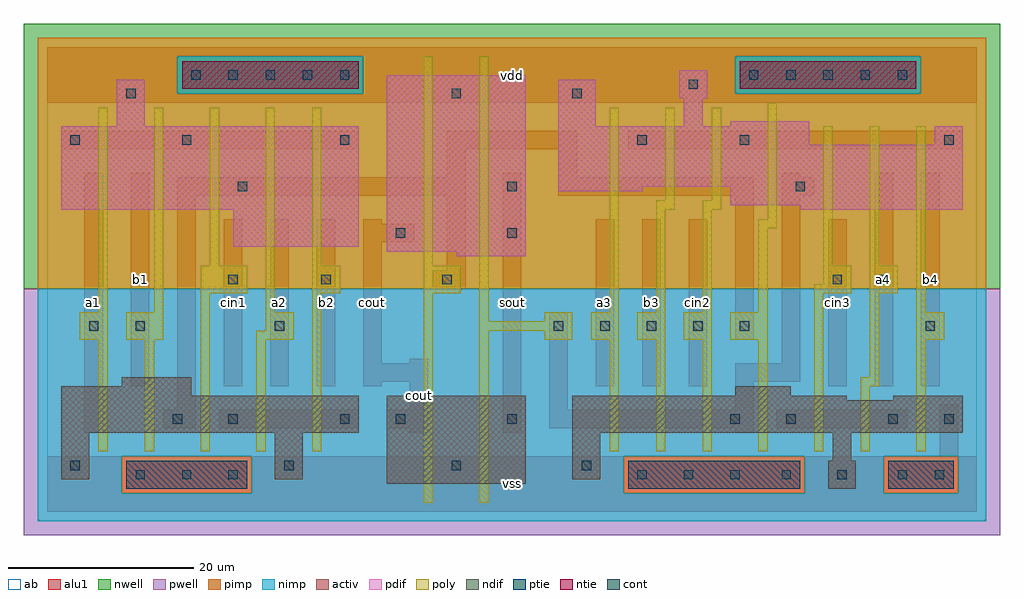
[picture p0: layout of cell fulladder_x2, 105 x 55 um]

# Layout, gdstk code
import gdstk
lib = gdstk.Library(unit=1e-6, precision=1e-09)
def R(c, l, rs):  # rectangles x0, y0, x1, y1
    for r in rs: c.add(gdstk.rectangle(r[:2], r[2:], *l))
def A(c, l, x, y, w, h, nx, ny, dx, dy):  # array of equal rectangles
    R(c, l, [(x+i*dx, y+j*dy, x+i*dx+w, y+j*dy+h) for i in range(nx) for j in range(ny)])
ndif = (3, 0)
pdif = (4, 0)
ntie = (5, 0)
ptie = (6, 0)
cont = (25, 0)
pwell = (41, 0)
nwell = (42, 0)
activ = (43, 0)
pimp = (44, 0)
nimp = (45, 0)
poly = (46, 0)
alu1 = (49, 0)
ab = (63, 0)

fulladder_x2 = lib.new_cell('fulladder_x2')
R(fulladder_x2, ndif, [(84,2.5,87,5.5), (36.5,3,51.5,12.5), (1.5,3.5,4.5,8.5), (24.5,3.5,27.5,8.5), (56.5,3.5,59.5,8.5), (84.5,5.5,86.5,8.5), (1.5,8.5,33.5,12.5), (56.5,8.5,98.5,12), (56.5,12,86,12.5), (91,12,98.5,12.5), (1.5,12.5,15.5,13.5), (74,12.5,80,13.5), (8,13.5,15.5,14.5)])
R(fulladder_x2, pdif, [(44,27.5,51.5,28), (36.5,28,51.5,47), (20,28.5,33.5,32.5), (1.5,32.5,33.5,41.5), (81,32.5,98.5,33), (73.5,33,98.5,35), (55,34.5,64,35), (55,35,98.5,39.5), (55,39.5,82,41.5), (95.5,39.5,98.5,41.5), (7.5,41.5,10.5,46.5), (55,41.5,59,46.5), (68.5,41.5,70.5,44.5), (73.5,41.5,82,42), (68,44.5,71,47.5)])
R(fulladder_x2, ntie, [(14.5,45.5,33.5,48.5), (74.5,45.5,93.5,48.5)])
R(fulladder_x2, ptie, [(8.5,2.5,21.5,5.5), (62.5,2.5,81,5.5), (90.5,2.5,97.5,5.5)])
A(fulladder_x2, cont, 9.5, 3.5, 1, 1, 3, 1, 5, 0)
A(fulladder_x2, cont, 63.5, 3.5, 1, 1, 3, 1, 5, 0)
A(fulladder_x2, cont, 54.5, 19.5, 1, 1, 5, 1, 5, 0)
A(fulladder_x2, cont, 15.5, 46.5, 1, 1, 5, 1, 4, 0)
A(fulladder_x2, cont, 75.5, 46.5, 1, 1, 5, 1, 4, 0)
R(fulladder_x2, cont, [(79,3.5,80,4.5), (85,3.5,86,4.5), (91.5,3.5,92.5,4.5), (95.5,3.5,96.5,4.5), (2.5,4.5,3.5,5.5), (25.5,4.5,26.5,5.5), (43.5,4.5,44.5,5.5), (57.5,4.5,58.5,5.5), (13.5,9.5,14.5,10.5), (19.5,9.5,20.5,10.5), (31.5,9.5,32.5,10.5), (37.5,9.5,38.5,10.5), (49.5,9.5,50.5,10.5), (73.5,9.5,74.5,10.5), (79.5,9.5,80.5,10.5), (90.5,9.5,91.5,10.5), (96.5,9.5,97.5,10.5), (4.5,19.5,5.5,20.5), (9.5,19.5,10.5,20.5), (24.5,19.5,25.5,20.5), (94.5,19.5,95.5,20.5), (19.5,24.5,20.5,25.5), (29.5,24.5,30.5,25.5), (42.5,24.5,43.5,25.5), (84.5,24.5,85.5,25.5), (89.5,24.5,90.5,25.5), (37.5,29.5,38.5,30.5), (49.5,29.5,50.5,30.5), (20.5,34.5,21.5,35.5), (49.5,34.5,50.5,35.5), (80.5,34.5,81.5,35.5), (2.5,39.5,3.5,40.5), (14.5,39.5,15.5,40.5), (31.5,39.5,32.5,40.5), (63.5,39.5,64.5,40.5), (74.5,39.5,75.5,40.5), (96.5,39.5,97.5,40.5), (8.5,44.5,9.5,45.5), (43.5,44.5,44.5,45.5), (56.5,44.5,57.5,45.5), (69,45.5,70,46.5)])
R(fulladder_x2, pwell, [(-2.5,-2.5,102.5,24)])
R(fulladder_x2, nwell, [(-2.5,24,102.5,52.5)])
R(fulladder_x2, activ, [(8.5,2.5,21.5,5.5), (62.5,2.5,81,5.5), (84,2.5,87,5.5), (90.5,2.5,97.5,5.5), (36.5,3,51.5,12.5), (1.5,3.5,4.5,8.5), (24.5,3.5,27.5,8.5), (56.5,3.5,59.5,8.5), (84.5,5.5,86.5,8.5), (1.5,8.5,33.5,12.5), (56.5,8.5,98.5,12), (56.5,12,86,12.5), (91,12,98.5,12.5), (1.5,12.5,15.5,13.5), (74,12.5,80,13.5), (8,13.5,15.5,14.5), (44,27.5,51.5,28), (36.5,28,51.5,47), (20,28.5,33.5,32.5), (1.5,32.5,33.5,41.5), (81,32.5,98.5,33), (73.5,33,98.5,35), (55,34.5,64,35), (55,35,98.5,39.5), (55,39.5,82,41.5), (95.5,39.5,98.5,41.5), (7.5,41.5,10.5,46.5), (55,41.5,59,46.5), (68.5,41.5,70.5,44.5), (73.5,41.5,82,42), (68,44.5,71,47.5), (14.5,45.5,33.5,48.5), (74.5,45.5,93.5,48.5)])
R(fulladder_x2, pimp, [(8,2,22,6), (62,2,81.5,6), (90,2,98,6), (-1,24,101,45), (-1,45,14,49), (34,45,74,49), (94,45,101,49), (-1,49,101,51)])
R(fulladder_x2, nimp, [(-1,-1,101,2), (-1,2,8,6), (22,2,62,6), (81.5,2,90,6), (98,2,101,6), (-1,6,101,24), (14,45,34,49), (74,45,94,49)])
A(fulladder_x2, poly, 60.5, 6.5, 1, 12, 3, 1, 5, 0)
A(fulladder_x2, poly, 58.5, 18.5, 3, 3, 3, 1, 5, 0)
R(fulladder_x2, poly, [(40.5,1,41.5,23.5), (46.5,1,47.5,19.5), (5.5,6.5,6.5,18.5), (10.5,6.5,11.5,18.5), (16.5,6.5,17.5,23.5), (22.5,6.5,23.5,18.5), (28.5,6.5,29.5,23.5), (76.5,6.5,77.5,18.5), (82.5,6.5,83.5,23.5), (87.5,6.5,88.5,13.5), (93.5,6.5,94.5,18.5), (87.5,13.5,89.5,14.5), (88.5,14.5,89.5,23.5), (3.5,18.5,6.5,21.5), (8.5,18.5,12.5,21.5), (22.5,18.5,26.5,19.5), (53.5,18.5,56.5,19.5), (73.5,18.5,77.5,21.5), (93.5,18.5,96.5,21.5), (23.5,19.5,26.5,21.5), (46.5,19.5,56.5,20.5), (46.5,20.5,47.5,49), (53.5,20.5,56.5,21.5), (5.5,21.5,6.5,43.5), (11.5,21.5,12.5,43.5), (23.5,21.5,24.5,43.5), (60.5,21.5,61.5,43.5), (65.5,21.5,66.5,32.5), (70.5,21.5,71.5,32.5), (76.5,21.5,77.5,30.5), (93.5,21.5,94.5,41.5), (16.5,23.5,21.5,26.5), (28.5,23.5,31.5,26.5), (40.5,23.5,44.5,26.5), (82.5,23.5,86.5,24.5), (88.5,23.5,91.5,26.5), (83.5,24.5,86.5,26.5), (17.5,26.5,18.5,43.5), (28.5,26.5,29.5,43.5), (40.5,26.5,41.5,49), (83.5,26.5,84.5,41.5), (88.5,26.5,89.5,41.5), (76.5,30.5,78.5,31.5), (77.5,31.5,78.5,44), (65.5,32.5,67.5,33.5), (70.5,32.5,72.5,33.5), (66.5,33.5,67.5,43.5), (71.5,33.5,72.5,43.5)])
R(fulladder_x2, alu1, [(0,0,100,6), (0,0,100,6), (96,6,98,11.5), (96,6,98,11.5), (4,8.5,6,36.5), (4,8.5,6,36.5), (39,8.5,41,9), (39,8.5,41,9), (49,8.5,51,36.5), (49,8.5,51,36.5), (74,8.5,76,9), (74,8.5,76,9), (12.5,9,16,11), (12.5,9,16,11), (18.5,9,33.5,11), (18.5,9,33.5,11), (36.5,9,41,11), (36.5,9,41,11), (54,9,76,11), (54,9,76,11), (78.5,9,92.5,11), (78.5,9,92.5,11), (14,11,16,34), (14,11,16,34), (39,11,41,14), (39,11,41,14), (54,11,56,21.5), (54,11,56,21.5), (74,11,76,14), (74,11,76,14), (9,13.5,11,36.5), (9,13.5,11,36.5), (19,13.5,21,31.5), (19,13.5,21,31.5), (24,13.5,26,31.5), (24,13.5,26,31.5), (29,13.5,31,31.5), (29,13.5,31,31.5), (34,13.5,36,14), (34,13.5,36,14), (59,13.5,61,31.5), (59,13.5,61,31.5), (64,13.5,66,31.5), (64,13.5,66,31.5), (69,13.5,71,31.5), (69,13.5,71,31.5), (84,13.5,86,31.5), (84,13.5,86,31.5), (89,13.5,91,36.5), (89,13.5,91,36.5), (94,13.5,96,36.5), (94,13.5,96,36.5), (34,14,41,16), (34,14,41,16), (74,14,81,16), (74,14,81,16), (34,16,36,29), (34,16,36,29), (39,16,41,16.5), (39,16,41,16.5), (79,16,81,34), (79,16,81,34), (74,18.5,76,34), (74,18.5,76,34), (41.5,24,45,26), (41.5,24,45,26), (43,26,45,34), (43,26,45,34), (34,29,39.5,31), (34,29,39.5,31), (34,31,36,31.5), (34,31,36,31.5), (14,34,45,36), (14,34,45,36), (55,34,76,36), (55,34,76,36), (79,34,82.5,36), (79,34,82.5,36), (43,36,45,39), (43,36,45,39), (55,36,57,39), (55,36,57,39), (79,36,81,36.5), (79,36,81,36.5), (1.5,39,33.5,41), (1.5,39,33.5,41), (43,39,57,41), (43,39,57,41), (62.5,39,98.5,41), (62.5,39,98.5,41), (0,44,100,50), (0,44,100,50)])
R(fulladder_x2, ab, [(0,0,100,50)])
fulladder_x2.add(gdstk.Label('b1', (10,25), layer=49, texttype=0))
fulladder_x2.add(gdstk.Label('a1', (5,22.5), layer=49, texttype=0))
fulladder_x2.add(gdstk.Label('cin1', (20,22.5), layer=49, texttype=0))
fulladder_x2.add(gdstk.Label('cout', (35,22.5), layer=49, texttype=0))
fulladder_x2.add(gdstk.Label('a2', (25,22.5), layer=49, texttype=0))
fulladder_x2.add(gdstk.Label('b2', (30,22.5), layer=49, texttype=0))
fulladder_x2.add(gdstk.Label('vss', (50,3), layer=49, texttype=0))
fulladder_x2.add(gdstk.Label('cout', (40,12.5), layer=49, texttype=0))
fulladder_x2.add(gdstk.Label('sout', (50,22.5), layer=49, texttype=0))
fulladder_x2.add(gdstk.Label('vdd', (50,47), layer=49, texttype=0))
fulladder_x2.add(gdstk.Label('a3', (60,22.5), layer=49, texttype=0))
fulladder_x2.add(gdstk.Label('b3', (65,22.5), layer=49, texttype=0))
fulladder_x2.add(gdstk.Label('cin2', (70,22.5), layer=49, texttype=0))
fulladder_x2.add(gdstk.Label('cin3', (85,22.5), layer=49, texttype=0))
fulladder_x2.add(gdstk.Label('a4', (90,25), layer=49, texttype=0))
fulladder_x2.add(gdstk.Label('b4', (95,25), layer=49, texttype=0))

lib.write_gds('fulladder_x2.gds')
